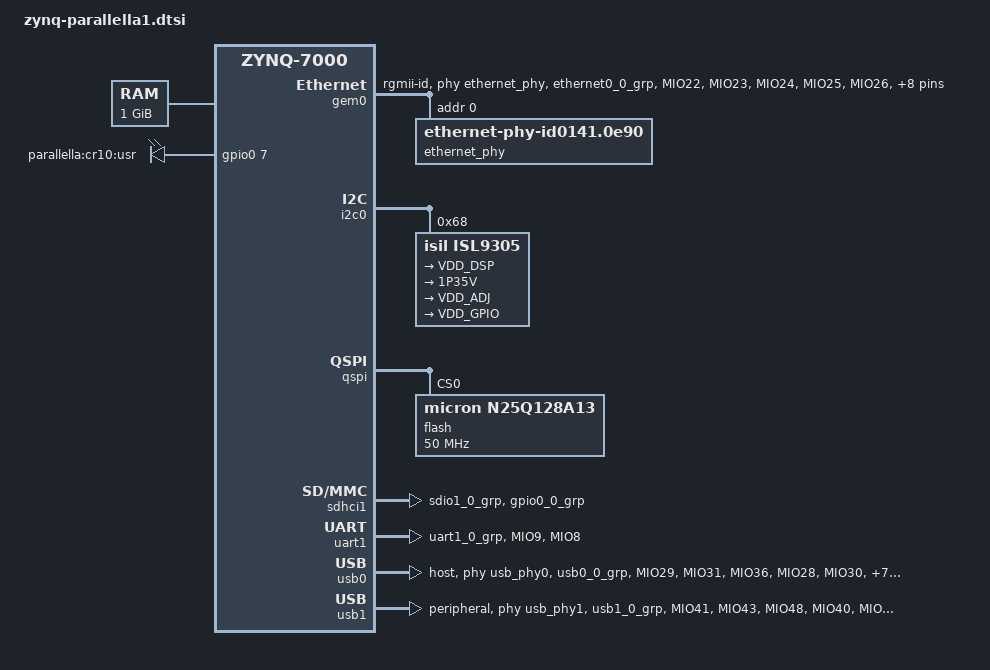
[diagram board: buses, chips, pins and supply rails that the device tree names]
/*
 * Copyright (c) 2014 SUSE LINUX Products GmbH
 * Copyright (c) 2015 SUSE Linux GmbH
 *
 * Derived from zynq-zed.dts:
 *
 *  Copyright (C) 2011 Xilinx
 *  Copyright (C) 2012 National Instruments Corp.
 *  Copyright (C) 2013 Xilinx
 *
 * This software is licensed under the terms of the GNU General Public
 * License version 2, as published by the Free Software Foundation, and
 * may be copied, distributed, and modified under those terms.
 *
 * This program is distributed in the hope that it will be useful,
 * but WITHOUT ANY WARRANTY; without even the implied warranty of
 * MERCHANTABILITY or FITNESS FOR A PARTICULAR PURPOSE.  See the
 * GNU General Public License for more details.
 */
/include/ "zynq-7000.dtsi"
#include <dt-bindings/gpio/gpio.h>

/ {
	compatible = "adapteva,parallella", "xlnx,zynq-7000";

	aliases {
		ethernet0 = &gem0;
		serial0 = &uart1;
	};

	memory {
		device_type = "memory";
		reg = <0x0 0x40000000>;
	};

	chosen {
		bootargs = "earlyprintk root=/dev/mmcblk0p2 rootfstype=ext4 rw rootwait";
		stdout-path = "serial0:115200n8";
	};

	leds {
		compatible = "gpio-leds";

		cr10 {
			label = "parallella:cr10:usr";
			gpios = <&gpio0 7 GPIO_ACTIVE_HIGH>;
			default-state = "on";
		};
	};

	usb_phy0: phy0 {
		compatible = "usb-nop-xceiv";
		#phy-cells = <0>;
		status = "disabled";
	};

	usb_phy1: phy1 {
		compatible = "usb-nop-xceiv";
		#phy-cells = <0>;
		status = "disabled";
	};
};

&clkc {
	fclk-enable = <0xf>;
	ps-clk-frequency = <33333333>;
};

&gem0 {
	status = "okay";
	phy-mode = "rgmii-id";
	phy-handle = <&ethernet_phy>;
	pinctrl-names = "default";
	pinctrl-0 = <&pinctrl_gem0_default>;

	ethernet_phy: ethernet-phy@0 {
		/* Marvell 88E1318 */
		compatible = "ethernet-phy-id0141.0e90",
		             "ethernet-phy-ieee802.3-c22";
		reg = <0>;
		marvell,reg-init = <0x3 0x10 0xff00 0x1e>,
		                   <0x3 0x11 0xfff0 0xa>;
	};
};

&gpio0 {
	pinctrl-names = "default";
	pinctrl-0 = <&pinctrl_gpio0_default>;
};

&i2c0 {
	status = "okay";

	isl9305: isl9305@68 {
		compatible = "isil,isl9305";
		reg = <0x68>;

		regulators {
			dcd1 {
				regulator-name = "VDD_DSP";
				regulator-always-on;
			};
			dcd2 {
				regulator-name = "1P35V";
				regulator-always-on;
			};
			ldo1 {
				regulator-name = "VDD_ADJ";
			};
			ldo2 {
				regulator-name = "VDD_GPIO";
				regulator-always-on;
			};
		};
	};
};

&pinctrl0 {
	pinctrl_gem0_default: gem0-default {
		mux {
			function = "ethernet0";
			groups = "ethernet0_0_grp";
		};

		conf {
			groups = "ethernet0_0_grp";
			slew-rate = <0>;
			io-standard = <1>;
		};

		conf-rx {
			pins = "MIO22", "MIO23", "MIO24", "MIO25", "MIO26", "MIO27";
			bias-high-impedance;
			low-power-disable;
		};

		conf-tx {
			pins = "MIO16", "MIO17", "MIO18", "MIO19", "MIO20", "MIO21";
			bias-disable;
			low-power-enable;
		};

		mux-mdio {
			function = "mdio0";
			groups = "mdio0_0_grp";
		};

		conf-mdio {
			groups = "mdio0_0_grp";
			slew-rate = <0>;
			io-standard = <1>;
			bias-disable;
		};
	};

	pinctrl_gpio0_default: gpio0-default {
		mux {
			function = "gpio0";
			groups = "gpio0_7_grp";
		};

		conf {
			groups = "gpio0_7_grp";
			slew-rate = <0>;
			io-standard = <3>;
		};

		conf-pull-up {
			pins = "MIO7";
			bias-pull-up;
		};
	};

	pinctrl_sdhci1_default: sdhci1-default {
		mux {
			function = "sdio1";
			groups = "sdio1_0_grp";
		};

		conf {
			groups = "sdio1_0_grp";
			slew-rate = <0>;
			io-standard = <1>;
			bias-disable;
		};

		mux-cd {
			function = "sdio1_cd";
			groups = "gpio0_0_grp";
		};

		conf-cd {
			groups = "gpio0_0_grp";
			bias-high-impedance;
			bias-pull-up;
			slew-rate = <0>;
			io-standard = <3>;
		};
	};

	pinctrl_uart1_default: uart1-default {
		mux {
			function = "uart1";
			groups = "uart1_0_grp";
		};

		conf {
			groups = "uart1_0_grp";
			slew-rate = <0>;
			io-standard = <3>;
		};

		conf-rx {
			pins = "MIO9";
			bias-high-impedance;
		};

		conf-tx {
			pins = "MIO8";
			bias-disable = <0>;
		};
	};

	pinctrl_usb0_default: usb0-default {
		mux {
			function = "usb0";
			groups = "usb0_0_grp";
		};

		conf {
			groups = "usb0_0_grp";
			slew-rate = <0>;
			io-standard = <1>;
		};

		conf-rx {
			pins = "MIO29", "MIO31", "MIO36";
			bias-high-impedance;
		};

		conf-tx {
			pins = "MIO28", "MIO30", "MIO32", "MIO33", "MIO34",
			       "MIO35", "MIO37", "MIO38", "MIO39";
			bias-disable;
		};
	};

	pinctrl_usb1_default: usb1-default {
		mux {
			function = "usb1";
			groups = "usb1_0_grp";
		};

		conf {
			groups = "usb1_0_grp";
			slew-rate = <0>;
			io-standard = <1>;
		};

		conf-rx {
			pins = "MIO41", "MIO43", "MIO48";
			bias-high-impedance;
		};

		conf-tx {
			pins = "MIO40", "MIO42", "MIO44", "MIO45", "MIO46",
			       "MIO47", "MIO49", "MIO50", "MIO51";
			bias-disable;
		};
	};
};

&qspi {
	status = "okay";

	flash@0 {
		compatible = "micron,n25q128a13";
		reg = <0x0>;
		spi-max-frequency = <50000000>;
		#address-cells = <1>;
		#size-cells = <1>;
		m25p,fast-read;
	};
};

&sdhci1 {
	status = "okay";
	pinctrl-names = "default";
	pinctrl-0 = <&pinctrl_sdhci1_default>;
};

&uart1 {
	status = "okay";
	pinctrl-names = "default";
	pinctrl-0 = <&pinctrl_uart1_default>;
};

&usb0 {
	dr_mode = "host";
	usb-phy = <&usb_phy0>;
	pinctrl-names = "default";
	pinctrl-0 = <&pinctrl_usb0_default>;
};

&usb1 {
	dr_mode = "peripheral";
	usb-phy = <&usb_phy1>;
	pinctrl-names = "default";
	pinctrl-0 = <&pinctrl_usb1_default>;
};
